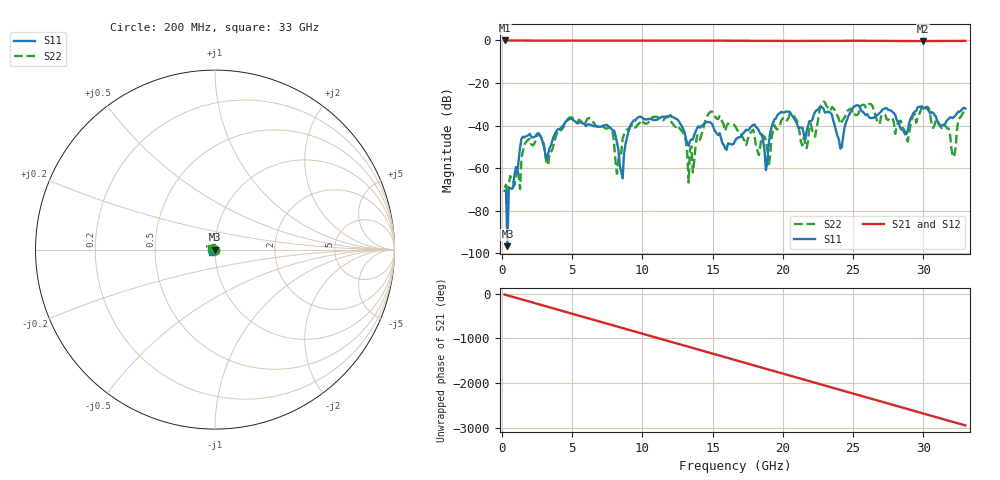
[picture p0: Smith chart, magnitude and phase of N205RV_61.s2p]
# GHZ S RI R 50
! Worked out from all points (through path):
!   329 points, 200 MHz to 33 GHz, reference 50 ohm
!   highest |S21| = -0.02 dB at 200 MHz (marker M1); lowest = -0.3 dB at 30 GHz (marker M2)
!   group delay of S21, straight-line fit = 248 ps
!   lowest |S11| = -96.7 dB at 400 MHz (marker M3), VSWR 1.00, Z = 50 - j0.000112 ohm
!   |S11| at or under -10 dB: start of sweep to end of sweep
!   |S22| runs from -72.3 to -28.7 dB; largest |S21 - S12| = 0.0019
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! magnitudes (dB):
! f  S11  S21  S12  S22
! 200 MHz  -70.6  0.0  0.0  -69.3
! 400 MHz  -96.7  0.0  0.0  -72.3
! 1.5 GHz  -45.3  -0.1  -0.1  -52.1
! 5.7 GHz  -38.9  -0.1  -0.1  -38.5
! 7.8 GHz  -41.6  -0.1  -0.1  -42.0
! 8.2 GHz  -48.0  -0.1  -0.1  -62.7
! 8.6 GHz  -64.8  -0.1  -0.1  -46.2
! 9.2 GHz  -39.3  -0.2  -0.2  -40.2
! 11.2 GHz  -36.6  -0.2  -0.2  -36.5
! 13 GHz  -43.0  -0.1  -0.1  -44.4
! 13.3 GHz  -49.6  -0.1  -0.1  -66.8
! 14.8 GHz  -38.4  -0.1  -0.1  -33.8
! 16.6 GHz  -47.3  -0.1  -0.1  -40.1
! 19 GHz  -48.7  -0.2  -0.2  -59.3
! 19.4 GHz  -37.2  -0.2  -0.2  -39.8
! 22.1 GHz  -37.5  -0.2  -0.2  -42.4
! 24.1 GHz  -50.9  -0.2  -0.2  -39.3
! 25 GHz  -31.6  -0.1  -0.1  -35.1
! 27.6 GHz  -32.8  -0.3  -0.3  -36.4
! 30 GHz  -32.0  -0.3  -0.3  -32.3
! 32.2 GHz  -35.9  -0.3  -0.3  -54.7
! 33 GHz  -32.0  -0.2  -0.2  -32.9
